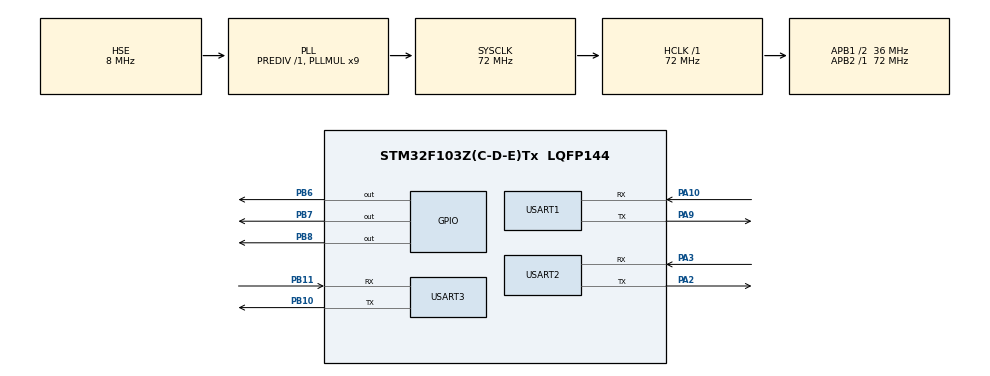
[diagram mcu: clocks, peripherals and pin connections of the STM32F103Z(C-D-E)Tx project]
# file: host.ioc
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Mcu.Family=STM32F1
Mcu.Name=STM32F103Z(C-D-E)Tx
Mcu.Package=LQFP144
NVIC.PriorityGroup=NVIC_PRIORITYGROUP_4
NVIC.USART2_IRQn=true\:0\:0\:false\:false\:true\:true\:true\:true
OSC_IN.Mode=HSE-External-Oscillator
OSC_IN.Signal=RCC_OSC_IN
OSC_OUT.Mode=HSE-External-Oscillator
OSC_OUT.Signal=RCC_OSC_OUT
PA10.Mode=Asynchronous
PA10.Signal=USART1_RX
PA13.Mode=Serial_Wire
PA13.Signal=SYS_JTMS-SWDIO
PA14.Mode=Serial_Wire
PA14.Signal=SYS_JTCK-SWCLK
PA2.Mode=Asynchronous
PA2.Signal=USART2_TX
PA3.Mode=Asynchronous
PA3.Signal=USART2_RX
PA9.Mode=Asynchronous
PA9.Signal=USART1_TX
PB10.Mode=Asynchronous
PB10.Signal=USART3_TX
PB11.Mode=Asynchronous
PB11.Signal=USART3_RX
PB6.Signal=GPIO_Output
PB7.Signal=GPIO_Output
PB8.PinState=GPIO_PIN_RESET
PB8.Signal=GPIO_Output
ProjectManager.HeapSize=0x200
ProjectManager.StackSize=0x400
ProjectManager.TargetToolchain=STM32CubeIDE
RCC.AHBFreq_Value=72000000
RCC.APB1CLKDivider=RCC_HCLK_DIV2
RCC.APB1Freq_Value=36000000
RCC.APB1TimFreq_Value=72000000
RCC.APB2Freq_Value=72000000
RCC.APB2TimFreq_Value=72000000
RCC.HCLKFreq_Value=72000000
RCC.PLLMUL=RCC_PLL_MUL9
RCC.PLLSourceVirtual=RCC_PLLSOURCE_HSE
RCC.SYSCLKFreq_VALUE=72000000
RCC.SYSCLKSource=RCC_SYSCLKSOURCE_PLLCLK
RCC.USBFreq_Value=72000000
USART1.VirtualMode=VM_ASYNC
USART2.VirtualMode=VM_ASYNC
USART3.VirtualMode=VM_ASYNC
board=custom

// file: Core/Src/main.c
/* USER CODE BEGIN Header */
/**
  ******************************************************************************
  * @file           : main.c
  * @brief          : Main program body
  ******************************************************************************
  * @attention
  *
  * Copyright (c) 2024 STMicroelectronics.
  * All rights reserved.
  *
  * This software is licensed under terms that can be found in the LICENSE file
  * in the root directory of this software component.
  * If no LICENSE file comes with this software, it is provided AS-IS.
  *
  ******************************************************************************
  */
/* USER CODE END Header */
#include "main.h"
#include "usart.h"
#include "gpio.h"

/* USER CODE BEGIN Includes */
#include "stdio.h"
#include "string.h"
#include "oled.h"
/* USER CODE END Includes */

/* USER CODE BEGIN PV */
int temperature = 0;//给一个初始化，用于判断
int humidity = 0;
int light_intensity = 0;
int smoke = 0;

//串口接收缓存（1字节）
uint8_t buf=0;
//定义最大接收字节数 200，可根据需求调整
#define UART2_REC_LEN 200

// 接收缓冲, 串口接收到的数据放在这个数组里，最大UART2_REC_LEN个字节
uint8_t UART2_RX_Buffer[UART2_REC_LEN];

// 接收状态
// bit15， 接收完成标志
// bit14， 接收到0x0d
// bit13~0， 接收到的有效字节数目
uint16_t UART2_RX_STA=0;

/* USER CODE END PV */

void SystemClock_Config(void);

/* USER CODE BEGIN 0 */

// 接收完成回调函数，收到一个数据后，在这里处理
// 通过中断的方法接受串口工具发送的字符串
void HAL_UART_RxCpltCallback(UART_HandleTypeDef *huart)
{
	// 判断中断是由哪个串口触发的
	if(huart->Instance == USART2)
	{
		// 判断接收是否完成（UART2_RX_STA bit15 位是否为1）
		if((UART2_RX_STA & 0x8000) == 0)
		{
			// 如果已经收到了 0x0d （回车），
			if(UART2_RX_STA & 0x4000)
			{
				// 则接着判断是否收到 0x0a （换行）
				if(buf == 0x0a)
					// 如果 0x0a 和 0x0d 都收到，则将 bit15 位置为1
					UART2_RX_STA |= 0x8000;
				else
					// 否则认为接收错误，重新开始
					UART2_RX_STA = 0;
			}
			else // 如果没有收到了 0x0d （回车）
			{
				//则先判断收到的这个字符是否是 0x0d （回车）
				if(buf == 0x0d)
				{
					// 是的话则将 bit14 位置为1
					UART2_RX_STA |= 0x4000;
				}
				else
				{
					// 否则将接收到的数据保存在缓存数组里
					UART2_RX_Buffer[UART2_RX_STA & 0X3FFF] = buf;
					UART2_RX_STA++;
					 // 如果接收数据大于UART2_REC_LEN（200字节），则重新开始接收
					if(UART2_RX_STA > UART2_REC_LEN - 1)
						UART2_RX_STA = 0;
				}
			}
		}
		// 重新开启中断
		HAL_UART_Receive_IT(&huart2, &buf, 1);
	}
}

/* USER CODE END 0 */

int main(void)
{

  /* USER CODE BEGIN 1 */
  char data[100];
  char JsonData[100];

  //uint8_t code[100] = {"Hello OLED lt"};
  /* USER CODE END 1 */

  /* MCU Configuration--------------------------------------------------------*/

  /* Reset of all peripherals, Initializes the Flash interface and the Systick. */
  HAL_Init();

  /* Configure the system clock */
  SystemClock_Config();

  /* Initialize all configured peripherals */
  MX_GPIO_Init();
  MX_USART1_UART_Init();
  MX_USART2_UART_Init();
  MX_USART3_UART_Init();
  /* USER CODE BEGIN 2 */

  //oled屏幕初始化
  OLED_Init();
  OLED_Clear();//清屏
  OLED_ColorTurn(0);
  OLED_DisplayTurn(0);
  //unsigned char i;
  HAL_UART_Receive_IT(&huart2, &buf, 1);//开启串口接收中断
  /* USER CODE END 2 */

  /* Infinite loop */
  while (1)
  {

    /* USER CODE BEGIN 3 */

	  //判断判断串口是否接收完成
	  if(UART2_RX_STA & 0x8000)
	  {

		  //接收完成后，对字符串进行操作
		  if (sscanf((char *)UART2_RX_Buffer, "temperature:%2d, humidity:%2d, Light intensity:%3d, smoke:%2d\r\n", &temperature, &humidity, &light_intensity, &smoke) == 4)
		  {
			  sprintf(data, "temperature:%d°C, humidity:%d%%, Light intensity:%dLux, smoke:%dppm\r\n",temperature, humidity, light_intensity, smoke);
			  printf(data);

			  //将Json数据发给esp32并上传到阿里云
			  sprintf(JsonData, "{\"temperature\":%d, \"humidity\":%d, \"LightLux\":%d, \"smoke\":%d}",temperature, humidity, light_intensity, smoke);
			  HAL_UART_Transmit(&huart3, (uint8_t *)&JsonData, strlen(JsonData), 100);

			  //超过阈值报警，温度>=30, 湿度>=80, 烟雾>=30
			  if(temperature >= 30)
			  {
				  HAL_GPIO_WritePin(GPIOB, GPIO_PIN_8, SET);
			  }

			  else if(humidity >= 80)
			  {
				  HAL_GPIO_WritePin(GPIOB, GPIO_PIN_8, SET);
			  }

			  else if(smoke >= 80)
			  {
				  HAL_GPIO_WritePin(GPIOB, GPIO_PIN_8, SET);
			  }

			  else
				  HAL_GPIO_WritePin(GPIOB, GPIO_PIN_8, RESET);

		  }

		  // 将收到的数据发送到串口
		  //HAL_UART_Transmit(&huart1, UART2_RX_Buffer, UART2_RX_STA & 0x3fff, 0xffff);
		  // 等待发送完成
		  while(huart2.gState != HAL_UART_STATE_READY);
		  printf("\r\n");
		  // 重新开始下一次接收
		  UART2_RX_STA = 0;
	  }

	  //屏幕显示数据
	  //温度
	  OLED_ShowString(0, 0, (uint8_t *)&"Temp :", 16, 1);
	  OLED_ShowNum(64, 0, temperature, 2, 16, 1);
	  OLED_ShowChar(80, 0, (uint8_t)'^', 16, 1);
	  OLED_ShowChar(88, 0, (uint8_t)'C', 16, 1);

	  //湿度
	  OLED_ShowString(0, 16, (uint8_t *)&"Hum :", 16, 1);
	  OLED_ShowNum(64, 16, humidity, 2, 16, 1);
	  OLED_ShowChar(80, 16, (uint8_t)'%', 16, 1);

	  //光照强度
	  OLED_ShowString(0, 32, (uint8_t *)&"Light :", 16, 1);
	  OLED_ShowNum(64, 32, light_intensity, 3, 16, 1);
	  OLED_ShowString(88, 32, (uint8_t *)&"Lux", 16, 1);

	  //烟雾浓度
	  OLED_ShowString(0, 48, (uint8_t *)&"Smoke :", 16, 1);
	  OLED_ShowNum(64, 48, smoke, 2, 16, 1);
	  OLED_ShowChar(80, 48, (uint8_t)'%', 16, 1);

	  OLED_Refresh();
	  HAL_Delay(100);

  }
  /* USER CODE END 3 */
}

void SystemClock_Config(void)
{
  RCC_OscInitTypeDef RCC_OscInitStruct = {0};
  RCC_ClkInitTypeDef RCC_ClkInitStruct = {0};

  /** Initializes the RCC Oscillators according to the specified parameters
  * in the RCC_OscInitTypeDef structure.
  */
  RCC_OscInitStruct.OscillatorType = RCC_OSCILLATORTYPE_HSE;
  RCC_OscInitStruct.HSEState = RCC_HSE_ON;
  RCC_OscInitStruct.HSEPredivValue = RCC_HSE_PREDIV_DIV1;
  RCC_OscInitStruct.HSIState = RCC_HSI_ON;
  RCC_OscInitStruct.PLL.PLLState = RCC_PLL_ON;
  RCC_OscInitStruct.PLL.PLLSource = RCC_PLLSOURCE_HSE;
  RCC_OscInitStruct.PLL.PLLMUL = RCC_PLL_MUL9;
  if (HAL_RCC_OscConfig(&RCC_OscInitStruct) != HAL_OK)
  {
    Error_Handler();
  }

  /** Initializes the CPU, AHB and APB buses clocks
  */
  RCC_ClkInitStruct.ClockType = RCC_CLOCKTYPE_HCLK|RCC_CLOCKTYPE_SYSCLK
                              |RCC_CLOCKTYPE_PCLK1|RCC_CLOCKTYPE_PCLK2;
  RCC_ClkInitStruct.SYSCLKSource = RCC_SYSCLKSOURCE_PLLCLK;
  RCC_ClkInitStruct.AHBCLKDivider = RCC_SYSCLK_DIV1;
  RCC_ClkInitStruct.APB1CLKDivider = RCC_HCLK_DIV2;
  RCC_ClkInitStruct.APB2CLKDivider = RCC_HCLK_DIV1;

  if (HAL_RCC_ClockConfig(&RCC_ClkInitStruct, FLASH_LATENCY_2) != HAL_OK)
  {
    Error_Handler();
  }
}

void Error_Handler(void)
{
  __disable_irq();
  while (1)
  {
  }
}
